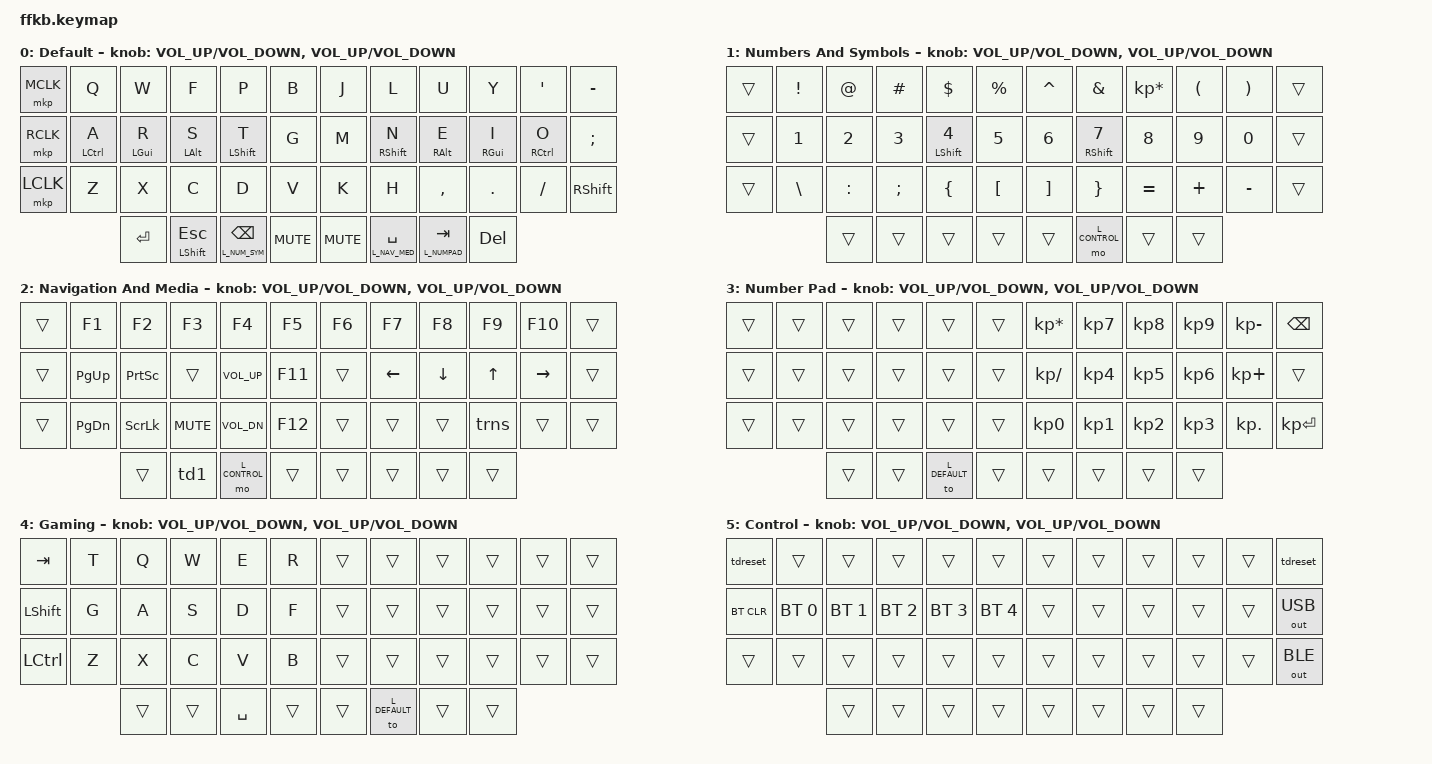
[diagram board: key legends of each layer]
#include <behaviors.dtsi>
#include <dt-bindings/zmk/keys.h>
#include <dt-bindings/zmk/bt.h>
#include <dt-bindings/zmk/ext_power.h>
#include <dt-bindings/zmk/outputs.h>
#include <dt-bindings/zmk/mouse.h>

// global config settings
#define TAPPING_TERM 190
#define QUICK_TAP 200
#define COMBO_TIMEOUT 30

// layer aliases
#define L_DEFAULT 0
#define L_NUM_SYM 1
#define L_NAV_MED 2
#define L_NUMPAD 3
#define L_GAMING 4
#define L_CONTROL 5

&caps_word {
    continue-list = <T N>;
};

// allow hold-tap (&lt) to repeat tap the tap behaior on tap then hold
&lt {
    flavor = "balanced";
    tapping-term-ms = <175>;
    quick-tap-ms = <QUICK_TAP>;
};

/ {
    combos {
	compatible = "zmk,combos";
	combo_grave {
	    timeout-ms = <COMBO_TIMEOUT>;
	    key-positions = <1 2>;
	    bindings = <&kp GRAVE>;
	    layers = <0>;
	};
	combo_tilde {
	    timeout-ms = <COMBO_TIMEOUT>;
	    key-positions = <2 3>;
	    bindings = <&kp TILDE>;
	    layers = <0>;
	};
	combo_pipe {
	    timeout-ms = <COMBO_TIMEOUT>;
	    key-positions = <3 4>;
	    bindings = <&kp PIPE>;
	    layers = <0>;
	};
	combo_minus {
	    timeout-ms = <COMBO_TIMEOUT>;
	    key-positions = <9 10>;
	    bindings = <&kp MINUS>;
	    layers = <0>;
	};
	combo_semicolon {
	    timeout-ms = <COMBO_TIMEOUT>;
	    key-positions = <21 22>;
	    bindings = <&kp SEMI>;
	    layers = <0>;
	};
    };

    sensors {
        compatible = "zmk,keymap-sensors";
        sensors = <&encoder_1 &encoder_2>;
    };

    behaviors {
        hm: homerow_mods {
            compatible = "zmk,behavior-hold-tap";
            label = "HOMEROW_MODS";
            #binding-cells = <2>;
            tapping-term-ms = <200>;
            quick_tap_ms = <0>;
            flavor = "balanced";
            bindings = <&kp>, <&kp>;
        };
        hs: homerow_shift {
            compatible = "zmk,behavior-hold-tap";
            label = "HOMEROW_SHIFT";
            #binding-cells = <2>;
            tapping-term-ms = <175>;
            quick_tap_ms = <0>;
            flavor = "balanced";
            bindings = <&kp>, <&kp>;
        };
        tdreset: tap_dance_reset {
            compatible = "zmk,behavior-tap-dance";
            label = "TAP_DANCE_RESET_BOOTLOADER";
            #binding-cells = <0>;
            tapping-term-ms = <TAPPING_TERM>;
            bindings = <&sys_reset>, <&bootloader>;
        };
    };

    keymap {
        compatible = "zmk,keymap";

        default_layer {
            label = "Default";

            sensor-bindings = <&inc_dec_kp C_VOLUME_UP C_VOLUME_DOWN &inc_dec_kp C_VOLUME_UP C_VOLUME_DOWN>;

            bindings = <
    &mkp MCLK  &kp Q       &kp W       &kp F          &kp P               &kp B               &kp J       &kp L                &kp U             &kp Y       &kp SQT     &kp MINUS
    &mkp RCLK  &hm LCTL A  &hm LGUI R  &hm LALT S     &hs LSHIFT T        &kp G               &kp M       &hs RSHIFT N         &hm RALT E        &hm RGUI I  &hm RCTL O  &kp SEMI
    &mkp LCLK  &kp Z       &kp X       &kp C          &kp D               &kp V               &kp K       &kp H                &kp COMMA         &kp DOT     &kp FSLH    &kp RSHFT
                            &kp RET     &mt LSHFT ESC  &lt L_NUM_SYM BSPC  &kp C_MUTE          &kp C_MUTE  &lt L_NAV_MED SPACE  &lt L_NUMPAD TAB  &kp DEL
            >;
        };

        number_symbol_layer {  // 1
            label = "Numbers And Symbols";

            sensor-bindings = <&inc_dec_kp C_VOLUME_UP C_VOLUME_DOWN &inc_dec_kp C_VOLUME_UP C_VOLUME_DOWN>;

// -----------------------------------------------------------------------------------------
// |      |  !  |  @  |  #  |  $  |  %  |   |  ^  |  &  |  *  |  (  |  )  |      |
// |      |  1  |  2  |  3  |  4  |  5  |   |  6  |  7  |  8  |  9  |  0  |      |
// |      |  \  |  :  |  ;  |  {  |  [  |   |  ]  |  }  |  =  |  +  |  -  |      |
//                    |     |     |     |   |     |     |     |
            bindings = <
    &trans  &kp EXCL   &kp AT     &kp HASH  &kp DLLR      &kp PRCNT       &kp CARET  &kp AMPS       &kp KP_MULTIPLY  &kp LPAR  &kp RPAR   &trans
    &trans  &kp N1     &kp N2     &kp N3    &mt LSHFT N4  &kp N5          &kp N6     &mt RSHFT N7   &kp N8           &kp N9    &kp N0     &trans
    &trans  &kp BSLH   &kp COLON  &kp SEMI  &kp LBRC      &kp LBKT        &kp RBKT   &kp RBRC       &kp EQUAL        &kp PLUS  &kp MINUS  &trans
                       &trans     &trans    &trans        &trans          &trans     &mo L_CONTROL  &trans           &trans
            >;
        };

        nav_media_layer {  // 2
            label = "Navigation And Media";

            sensor-bindings = <&inc_dec_kp C_VOLUME_UP C_VOLUME_DOWN &inc_dec_kp C_VOLUME_UP C_VOLUME_DOWN>;

// -----------------------------------------------------------------------------------------
// |      |  F1 | F2  | F3  | F4  | F5  |   | F6   |  F7  | F8   | F9  | F10  |      |
// |      | PUP | PRN | BT3 | BT4 | F11 |   | LCLK | LFT  | DOWN | UP  | RGT  |      |
// |      | PDN | SLK |     |     | F12 |   | RCLK | MLFT | MDWN | MUP | MRGT |      |
//                    | GUI |     |     |   |      |      |      |
                        bindings = <
    &trans  &kp F1     &kp F2     &kp F3      &kp F4         &kp F5               &kp F6     &kp F7       &kp F8       &kp F9     &kp F10       &trans
    &trans  &kp PG_UP  &kp PSCRN  &trans      &kp C_VOL_UP   &kp F11              &trans     &kp LEFT     &kp DOWN     &kp UP     &kp RIGHT     &trans
    &trans  &kp PG_DN  &kp SLCK   &kp C_MUTE  &kp C_VOL_DN   &kp F12              &trans     &trans       &trans       &trns      &trans        &trans
                	      &trans         &td1        &mo L_CONTROL  &trans               &trans     &trans       &trans       &trans
            >;
        };

        numpad_layer {  // 3
            label = "Number Pad";

            sensor-bindings = <&inc_dec_kp C_VOLUME_UP C_VOLUME_DOWN &inc_dec_kp C_VOLUME_UP C_VOLUME_DOWN>;

// -----------------------------------------------------------------------------------------
// |      |     |     |     |     |     |   |   *  | NUM7 | NUM8 |  NUM9  |  -  |      |
// |      |     |     |     |     |     |   |   /  | NUM4 | NUM5 |  NUM6  |  +  |      |
// |      |     |     |     |     |     |   | NUM0 | NUM1 | NUM2 |  NUM3  |  .  |      |
//                    |     |     | L0  |   | ENTR | BSPC |      |
            bindings = <
    &trans  &trans  &trans  &trans  &trans         &trans               &kp KP_MULTIPLY  &kp KP_N7  &kp KP_N8  &kp KP_N9  &kp KP_MINUS  &kp BSPC
    &trans  &trans  &trans  &trans  &trans         &trans               &kp KP_DIVIDE    &kp KP_N4  &kp KP_N5  &kp KP_N6  &kp KP_PLUS   &trans
    &trans  &trans  &trans  &trans  &trans         &trans               &kp KP_N0        &kp KP_N1  &kp KP_N2  &kp KP_N3  &kp KP_DOT    &kp KP_ENTER
                    &trans  &trans  &to L_DEFAULT  &trans               &trans           &trans     &trans     &trans
            >;
        };

        gaming_layer {  // 4
            label = "Gaming";

            sensor-bindings = <&inc_dec_kp C_VOLUME_UP C_VOLUME_DOWN &inc_dec_kp C_VOLUME_UP C_VOLUME_DOWN>;

// -----------------------------------------------------------------------------------------
// |      | TAB  |  Q  |  W  |  E  |  R  |   |     |     |     |     |     |      |
// |      | SHFT |  A  |  S  |  D  |  F  |   |     |     |     |     |     |      |
// |      | CTRL |  X  |  C  |  V  |  B  |   |     |     |     |     |     |      |
//                     |     |     | SPC |   | L0  |     |     |
                        bindings = <
    &kp TAB     &kp T  &kp Q  &kp W    &kp E      &kp R            &trans  &trans         &trans  &trans  &trans  &trans
    &kp LSHIFT  &kp G  &kp A  &kp S    &kp D      &kp F            &trans  &trans         &trans  &trans  &trans  &trans
    &kp LCTRL   &kp Z  &kp X  &kp C    &kp V      &kp B            &trans  &trans         &trans  &trans  &trans  &trans
                       &trans  &trans  &kp SPACE  &trans           &trans  &to L_DEFAULT  &trans  &trans
                        >;
                };

        control_layer {  // 5
            label = "Control";

            sensor-bindings = <&inc_dec_kp C_VOLUME_UP C_VOLUME_DOWN &inc_dec_kp C_VOLUME_UP C_VOLUME_DOWN>;

// -----------------------------------------------------------------------------------------
// |  TD2 |     |     |     |     |     |   |     |     |     |     |     | TD2  |
// | BTCLR| BT1 | BT2 | BT3 | BT4 | BT5 |   |     |     |     |     |     |      |
// |      |     |     |     |     |     |   |     |     |     |     |     |      |
//                    |     |     |     |   |     |     |     |
                        bindings = <
    &tdreset    &trans        &trans        &trans        &trans        &trans              &trans  &trans  &trans  &trans  &trans  &tdreset
    &bt BT_CLR  &bt BT_SEL 0  &bt BT_SEL 1  &bt BT_SEL 2  &bt BT_SEL 3  &bt BT_SEL 4        &trans  &trans  &trans  &trans  &trans  &out OUT_USB
    &trans      &trans        &trans        &trans        &trans        &trans              &trans  &trans  &trans  &trans  &trans  &out OUT_BLE
                              &trans        &trans        &trans        &trans              &trans  &trans  &trans  &trans
            >;
        };

    };
};

